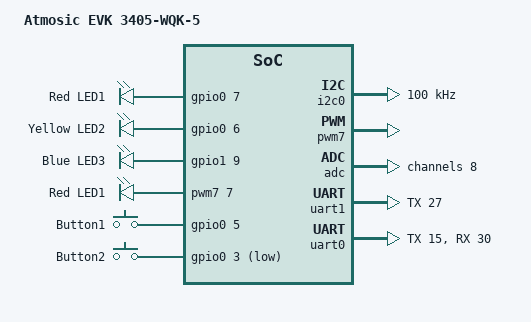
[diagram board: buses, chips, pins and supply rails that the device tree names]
/*
 * Copyright (c) 2025 Atmosic
 *
 * SPDX-License-Identifier: Apache-2.0
 */

/dts-v1/;
#ifndef FLASH_SIZE
#define FLASH_SIZE 0x100000
#endif
#include <arm/atmosic/ATM34xx.dtsi>
#include <dt-bindings/gpio/gpio.h>
#include "pinctrl-qk.dtsi"
#define STACKED_FLASH_WQK
#include "stacked_flash.dtsi"

/ {
	model = "Atmosic EVK 3405-WQK-5";
	compatible = "atmosic,ATMEVK-3405-WQK-5";

	chosen {
		zephyr,console = &uart1;
		zephyr,shell-uart = &uart1;
		zephyr,uart-mcumgr = &uart0;
		zephyr,bt-mon-uart = &uart1;
		zephyr,sram = &sram0;
		zephyr,flash-controller = &rram_controller;
		zephyr,flash = &rram0;
		zephyr,code-partition = &spe_partition;
		zephyr,entropy = &trng;
	};

	leds {
		compatible = "gpio-leds";
		led0: led_0 {
			gpios = <&gpio0 7 GPIO_ACTIVE_HIGH>;
			label = "Red LED1";
		};
		led1: led_1 {
			gpios = <&gpio0 6 GPIO_ACTIVE_HIGH>;
			label = "Yellow LED2";
		};
		led2: led_2 {
			gpios = <&gpio1 9 GPIO_ACTIVE_HIGH>;
			label = "Blue LED3";
		};
	};

        pwmleds {
                compatible = "pwm-leds";
                pwm_led0: pwm_led_0 {
                        pwms = <&pwm7 7 PWM_MSEC(1) PWM_POLARITY_NORMAL>;
			label = "Red LED1";
                };
        };

	buttons {
		compatible = "gpio-keys";
		button0: button_0 {
			gpios = <&gpio0 5 GPIO_ACTIVE_HIGH>;
			label = "Button1";
		};
		button1: button_1 {
			gpios = <&gpio0 3 GPIO_ACTIVE_LOW>;
			label = "Button2";
		};
	};

	/* These aliases are provided for compatibility with samples */
	aliases {
		i2c-1 = &i2c0;
		led0 = &led0;
		pwm-0 = &pwm7;
		pwm-led0 = &pwm_led0;
		sw0 = &button0;
	};

	zephyr,user {
		pin-arrangement = "5X5";
	};
};

&i2c0 {
	pinctrl-0 = <&i2c0_sda_default &i2c0_scl_default>;
	pinctrl-names = "default";
	clock-frequency = <I2C_BITRATE_STANDARD>;
};

&pwm7 {
	pin = <7>;
	status = "okay";
};

&adc {
	ch-cell = <1>;
	ch-core = <3>;
	ch-temp = <4>;
	ch-p1diff = <5>;
	ch-p0diff = <6>;
	ch-p1single0 = <7>;
	ch-p1single1 = <8>;
	ch-p0single0 = <9>;
	ch-p0single1 = <10>;
	ch-p2single = <12>;

	#address-cells = <1>;
	#size-cells = <0>;

	channel@8 {
		reg = <8>;
		zephyr,gain = "ADC_GAIN_1_4";
		zephyr,reference = "ADC_REF_INTERNAL";
		zephyr,acquisition-time = <ADC_ACQ_TIME_DEFAULT>;
	};
};

&uart1 {
	tx-pin = <27>;
};

&uart0 {
	rx-pin = <30>;
	tx-pin = <15>;
	rts-pin = <13>;
	cts-pin = <12>;
};

&pmu {
	batt-type = <3>;
	batt-level = <1>;
	vddio-type = <0>;
	vddpa-src = <0>;
};
